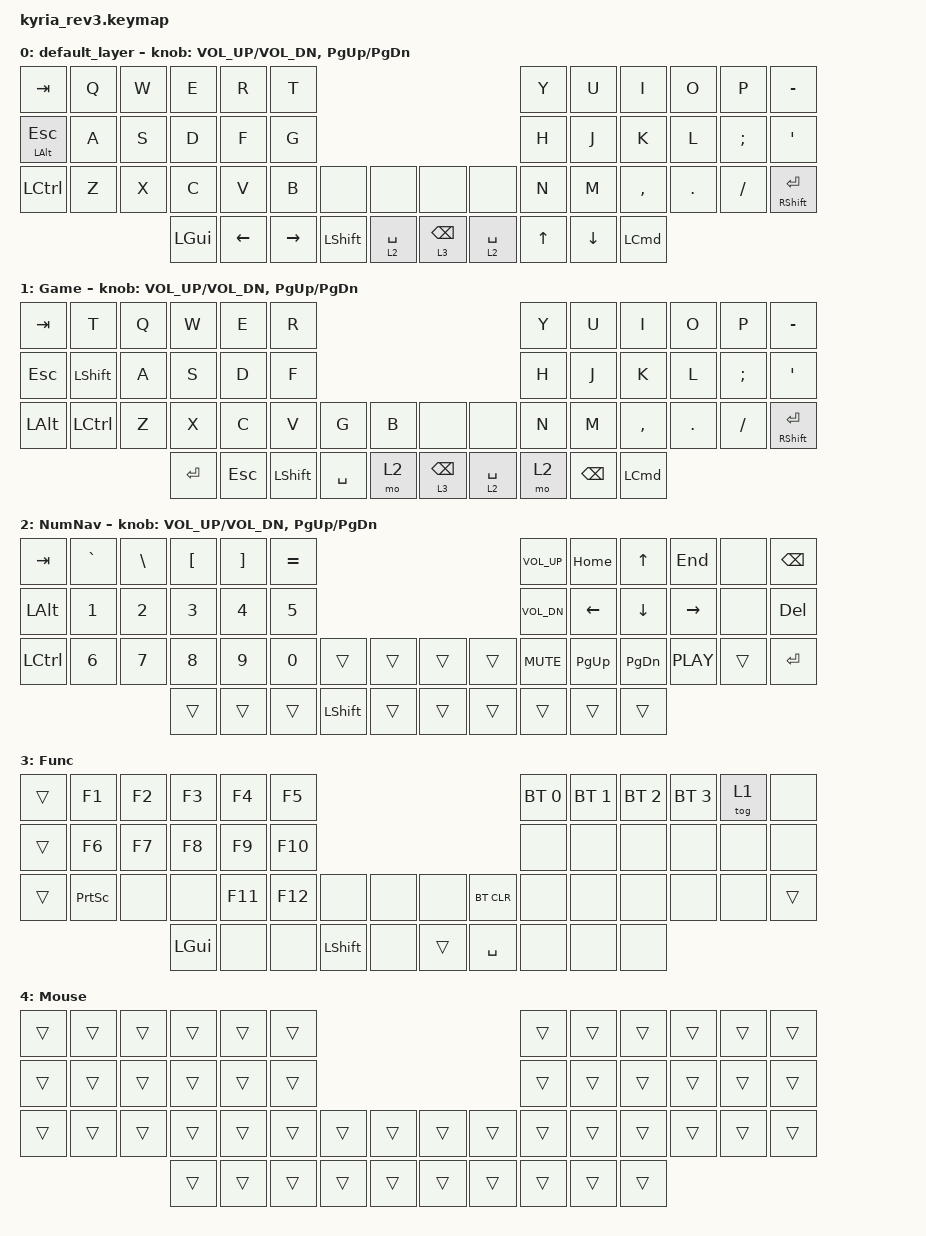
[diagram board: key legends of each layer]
/*
 * Copyright (c) 2023 The ZMK Contributors
 *
 * SPDX-License-Identifier: MIT
 */

#include <behaviors.dtsi>
#include <dt-bindings/zmk/bt.h>
#include <dt-bindings/zmk/keys.h>

/* Uncomment this block if using RGB
&led_strip {
    chain-length = <6>;
    // chain-length = <31>; // Uncomment if using both per-key and underglow LEDs
    // chain-length = <25>; // Uncomment if using only per-key LEDs.
};
 */

&lt { quick-tap-ms = <200>; };

&mt { quick-tap-ms = <200>; };

/ {
    keymap {
        compatible = "zmk,keymap";

        default_layer {
            // ---------------------------------------------------------------------------------------------------------------------------------
            // |  ESC  |  Q  |  W  |  E   |  R   |  T   |                                          |  Y   |  U    |  I    |  O   |   P   |   \  |
            // |  TAB  |  A  |  S  |  D   |  F   |  G   |                                          |  H   |  J    |  K    |  L   |   ;   |   '  |
            // | SHIFT |  Z  |  X  |  C   |  V   |  B   | L SHIFT | L SHIFT |  | LAYER 1 | L SHIFT |  N   |  M    |  ,    |  .   |   /   | CTRL |
            //                     | GUI  | DEL  | RET  |  SPACE  |   ESC   |  |   RET   |  SPACE  | TAB  | BSPC  | R-ALT |

            bindings = <
&kp TAB              &kp Q  &kp W  &kp E     &kp R           &kp T                                                             &kp Y         &kp U     &kp I      &kp O    &kp P     &kp MINUS
&mt LEFT_ALT ESCAPE  &kp A  &kp S  &kp D     &kp F           &kp G                                                             &kp H         &kp J     &kp K      &kp L    &kp SEMI  &kp SQT
&kp LEFT_CONTROL     &kp Z  &kp X  &kp C     &kp V           &kp B      &none       &none        &none            &none        &kp N         &kp M     &kp COMMA  &kp DOT  &kp FSLH  &mt RIGHT_SHIFT ENTER
                                   &kp LGUI  &kp LEFT_ARROW  &kp RIGHT  &kp LSHIFT  &lt 2 SPACE  &lt 3 BACKSPACE  &lt 2 SPACE  &kp UP_ARROW  &kp DOWN  &kp LCMD
            >;

            sensor-bindings = <&inc_dec_kp C_VOL_UP C_VOL_DN &inc_dec_kp PG_UP PG_DN>;
        };

        gaming_layer {
            bindings = <
&kp TAB   &kp T      &kp Q  &kp W      &kp E       &kp R                                                      &kp Y  &kp U     &kp I      &kp O    &kp P     &kp MINUS
&kp ESC   &kp LSHFT  &kp A  &kp S      &kp D       &kp F                                                      &kp H  &kp J     &kp K      &kp L    &kp SEMI  &kp SQT
&kp LALT  &kp LCTRL  &kp Z  &kp X      &kp C       &kp V      &kp G      &kp B  &none            &none        &kp N  &kp M     &kp COMMA  &kp DOT  &kp FSLH  &mt RIGHT_SHIFT ENTER
                            &kp ENTER  &kp ESCAPE  &kp LSHFT  &kp SPACE  &mo 2  &lt 3 BACKSPACE  &lt 2 SPACE  &mo 2  &kp BSPC  &kp LCMD
            >;

            sensor-bindings =
                <&inc_dec_kp C_VOL_UP C_VOL_DN>,
                <&inc_dec_kp PG_UP PG_DN>;

            label = "Game";
        };

        num_nav {
            // ---------------------------------------------------------------------------------------------------------------------------------
            // |       |      |BT_CLR|BTSEL0|BTSEL1|BTSEL2|                                         |      |      |      |      |      |      |
            // |       |      |      |BTSEL3|BTSEL4|      |                                         |      |      |      |      |      |      |
            // |       |      |      |      |      |      |      |      |      |      |      |      |      |      |      |      |      |      |
            //                       |      |      |      |      |      |      |      |      |      |      |      |      |

            bindings = <
&kp TAB           &kp GRAVE  &kp BSLH  &kp LBKT  &kp RBKT  &kp EQUAL                                      &kp C_VOL_UP  &kp HOME     &kp UP         &kp END     &none   &kp BSPC
&kp LEFT_ALT      &kp N1     &kp N2    &kp N3    &kp N4    &kp N5                                         &kp C_VOL_DN  &kp LEFT     &kp DOWN       &kp RIGHT   &none   &kp DEL
&kp LEFT_CONTROL  &kp N6     &kp N7    &kp N8    &kp N9    &kp N0     &trans      &trans  &trans  &trans  &kp C_MUTE    &kp PAGE_UP  &kp PAGE_DOWN  &kp C_PLAY  &trans  &kp ENTER
                                       &trans    &trans    &trans     &kp LSHIFT  &trans  &trans  &trans  &trans        &trans       &trans
            >;

            sensor-bindings = <&inc_dec_kp C_VOL_UP C_VOL_DN &inc_dec_kp PG_UP PG_DN>;
            label = "NumNav";
        };

        function_layer {
            bindings = <
&trans  &kp F1           &kp F2  &kp F3    &kp F4   &kp F5                                              &bt BT_SEL 0  &bt BT_SEL 1  &bt BT_SEL 2  &bt BT_SEL 3  &tog 1  &none
&trans  &kp F6           &kp F7  &kp F8    &kp F9   &kp F10                                             &none         &none         &none         &none         &none   &none
&trans  &kp PRINTSCREEN  &none   &none     &kp F11  &kp F12  &none           &none  &none   &bt BT_CLR  &none         &none         &none         &none         &none   &trans
                                 &kp LGUI  &none    &none    &kp LEFT_SHIFT  &none  &trans  &kp SPACE   &none         &none         &none
            >;

            label = "Func";
        };

        mouse_layer {
            bindings = <
&trans  &trans  &trans  &trans  &trans  &trans                                  &trans  &trans  &trans  &trans  &trans  &trans
&trans  &trans  &trans  &trans  &trans  &trans                                  &trans  &trans  &trans  &trans  &trans  &trans
&trans  &trans  &trans  &trans  &trans  &trans  &trans  &trans  &trans  &trans  &trans  &trans  &trans  &trans  &trans  &trans
                        &trans  &trans  &trans  &trans  &trans  &trans  &trans  &trans  &trans  &trans
            >;

            label = "Mouse";
        };
    };
};
